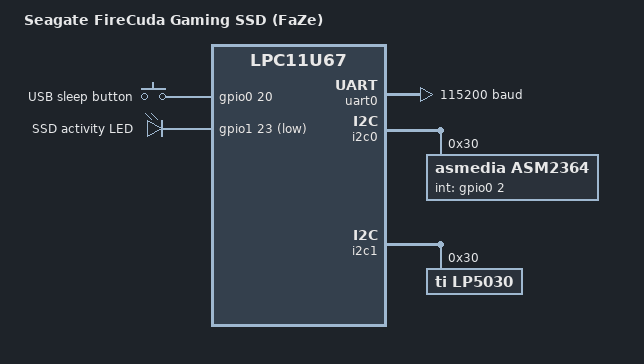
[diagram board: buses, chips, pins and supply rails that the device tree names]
/*
 * Copyright (c) 2020 Seagate Technology LLC
 *
 * SPDX-License-Identifier: Apache-2.0
 */

/dts-v1/;

#include <nxp/nxp_lpc11u67.dtsi>
#include <dt-bindings/pinctrl/lpc11u6x-pinctrl.h>
#include <dt-bindings/led/led.h>

/ {
	model = "Seagate FireCuda Gaming SSD (FaZe)";
	compatible = "faze", "seagate,faze";

	chosen {
		zephyr,sram = &sram0;
		zephyr,flash = &flash0;
		zephyr,console = &uart0;
		zephyr,shell-uart = &uart0;
	};

	/* These aliases are provided for compatibility with samples. */
	aliases {
		led0 = &sata_led;
		sw0 = &usb_sleep_button;
		eeprom-0 = &eeprom0;
		led-controller-0 = &led_controller_0;
	};

	gpio_keys {
		compatible = "gpio-keys";

		/* Handle the USB_SLEEP GPIO as a button. */
		usb_sleep_button: button_0 {
		gpios = <&gpio0 20 GPIO_ACTIVE_HIGH>;
			label = "USB sleep button";
		};
	};

	leds {
		compatible = "gpio-leds";

		sata_led: led_0 {
			gpios = <&gpio1 23 GPIO_ACTIVE_LOW>;
			label = "SSD activity LED";
		};
	};
};

&uart0 {
	pinmuxs = <&pinmux0 18 IOCON_FUNC1>, <&pinmux0 19 IOCON_FUNC1>;
	pinmux-names = "RXD", "TXD";
	current-speed = <115200>;
	status = "okay";
};

&i2c0 {
	pinmuxs = <&pinmux0 4 IOCON_FUNC1>,
		  <&pinmux0 5 IOCON_FUNC1>;
	pinmux-names = "SCL", "SDA";
	status = "okay";

	asm2364: asm2364@30 {
		compatible = "asmedia,asm2364";
		int-gpios = <&gpio0 2 0>;
		reg = <0x30>;
	};
};

&i2c1 {
	pinmuxs =  <&pinmux0 7 (IOCON_FUNC3| IOCON_OPENDRAIN_EN)>,
		   <&pinmux1 24 (IOCON_FUNC2 | IOCON_OPENDRAIN_EN)>;
	pinmux-names = "SCL", "SDA";
	status = "okay";

	/* TI LP5030 LED controller connected to I2C1. */
	led_controller_0: lp5030@30 {
		compatible = "ti,lp5030", "ti,lp503x";
		reg = <0x30>;
		label = "LP5030";

		led0: led_0 {
			label = "LED LP5030 0";
			index = <0>;
			color-mapping =
				<LED_COLOR_ID_RED>,
				<LED_COLOR_ID_GREEN>,
				<LED_COLOR_ID_BLUE>;
		};
		led1: led_1 {
			label = "LED LP5030 1";
			index = <1>;
			color-mapping =
				<LED_COLOR_ID_RED>,
				<LED_COLOR_ID_GREEN>,
				<LED_COLOR_ID_BLUE>;
		};
		led2: led_2 {
			label = "LED LP5030 2";
			index = <2>;
			color-mapping =
				<LED_COLOR_ID_RED>,
				<LED_COLOR_ID_GREEN>,
				<LED_COLOR_ID_BLUE>;
		};
		led3: led_3 {
			label = "LED LP5030 3";
			index = <3>;
			color-mapping =
				<LED_COLOR_ID_RED>,
				<LED_COLOR_ID_GREEN>,
				<LED_COLOR_ID_BLUE>;
		};
		led4: led_4 {
			label = "LED LP5030 4";
			index = <4>;
			color-mapping =
				<LED_COLOR_ID_RED>,
				<LED_COLOR_ID_GREEN>,
				<LED_COLOR_ID_BLUE>;
		};
		led5: led_5 {
			label = "LED LP5030 5";
			index = <5>;
			color-mapping =
				<LED_COLOR_ID_RED>,
				<LED_COLOR_ID_GREEN>,
				<LED_COLOR_ID_BLUE>;
		};
	};
};

&cpu0 {
	clock-frequency = <48000000>;
};

&gpio0 {
	status = "okay";
};

&gpio1 {
	status = "okay";
};

&gpio2 {
	status = "okay";
};
